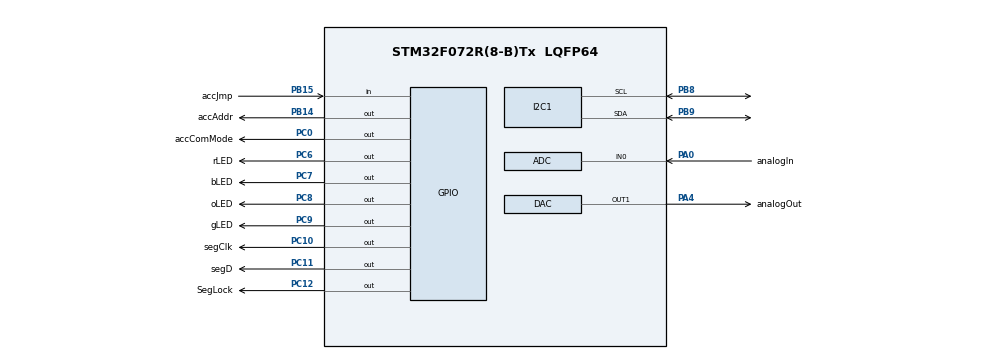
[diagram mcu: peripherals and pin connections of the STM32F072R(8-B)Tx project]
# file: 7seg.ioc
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ADC.ContinuousConvMode=ENABLE
ADC.Resolution=ADC_RESOLUTION_8B
DAC.DAC_Trigger=DAC_TRIGGER_SOFTWARE
Mcu.Family=STM32F0
Mcu.Name=STM32F072R(8-B)Tx
Mcu.Package=LQFP64
NVIC.TIM2_IRQn=true\:2\:0\:true\:false\:true\:true\:true\:true
PA0.GPIO_Label=analogIn
PA0.Mode=IN0
PA0.Signal=ADC_IN0
PA4.GPIO_Label=analogOut
PA4.Signal=COMP_DAC1_group
PB14.GPIO_Label=accAddr
PB14.GPIO_ModeDefaultOutputPP=GPIO_MODE_OUTPUT_PP
PB14.GPIO_PuPd=GPIO_PULLUP
PB14.PinState=GPIO_PIN_SET
PB14.Signal=GPIO_Output
PB15.GPIO_Label=accJmp
PB15.Signal=GPIO_Input
PB8.Mode=I2C
PB8.Signal=I2C1_SCL
PB9.Mode=I2C
PB9.Signal=I2C1_SDA
PC0.GPIO_Label=accComMode
PC0.GPIO_ModeDefaultOutputPP=GPIO_MODE_OUTPUT_PP
PC0.GPIO_PuPd=GPIO_PULLUP
PC0.PinState=GPIO_PIN_SET
PC0.Signal=GPIO_Output
PC10.GPIO_Label=segClk
PC10.Signal=GPIO_Output
PC11.GPIO_Label=segD
PC11.Signal=GPIO_Output
PC12.GPIO_Label=SegLock
PC12.Signal=GPIO_Output
PC6.GPIO_Label=rLED
PC6.GPIO_ModeDefaultOutputPP=GPIO_MODE_OUTPUT_PP
PC6.GPIO_PuPd=GPIO_PULLDOWN
PC6.Signal=GPIO_Output
PC7.GPIO_Label=bLED
PC7.GPIO_PuPd=GPIO_PULLDOWN
PC7.Signal=GPIO_Output
PC8.GPIO_Label=oLED
PC8.GPIO_PuPd=GPIO_PULLDOWN
PC8.Signal=GPIO_Output
PC9.GPIO_Label=gLED
PC9.GPIO_PuPd=GPIO_PULLDOWN
PC9.Signal=GPIO_Output
ProjectManager.HeapSize=0x200
ProjectManager.StackSize=0x400
ProjectManager.TargetToolchain=Makefile
SH.COMP_DAC1_group.0=DAC_OUT1,DAC_OUT1
TIM2.AutoReloadPreload=TIM_AUTORELOAD_PRELOAD_ENABLE
TIM2.Period=3125
TIM2.Prescaler=0
TIM2.TIM_MasterOutputTrigger=TIM_TRGO_UPDATE
TIM3.Period=10000
TIM3.Prescaler=0
VP_TIM2_VS_ClockSourceINT.Mode=Internal
VP_TIM3_VS_ClockSourceINT.Mode=Internal
board=custom

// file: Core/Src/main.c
/* USER CODE BEGIN Header */
/**
 ******************************************************************************
 * @file           : main.c
 * @brief          : Main program body
 ******************************************************************************
 * @attention
 *
 * Copyright (c) 2023 STMicroelectronics.
 * All rights reserved.
 *
 * This software is licensed under terms that can be found in the LICENSE file
 * in the root directory of this software component.
 * If no LICENSE file comes with this software, it is provided AS-IS.
 *
 ******************************************************************************
 */
/* USER CODE END Header */
#include "main.h"
#include "adc.h"
#include "dac.h"
#include "i2c.h"
#include "tim.h"
#include "gpio.h"

/* USER CODE BEGIN Includes */
#include "strings.h"
#include "charBuffer.h"
#include "mm5486n.h"
/* USER CODE END Includes */

/* USER CODE BEGIN PV */
charBuffer *UsartReadBuffer;
charBuffer *UsartWriteQueue;

charBuffer *I2CReadBuffer;
charBuffer *I2CWriteQueue;

const uint8_t sine_table[32] = {127,151,175,197,216,232,244,251,254,251,244,
232,216,197,175,151,127,102,78,56,37,21,9,2,0,2,9,21,37,56,78,102};

/* USER CODE END PV */

void SystemClock_Config(void);

/* USER CODE BEGIN 0 */
uint8_t UART1_rxBuffer[32];

/* USER CODE END 0 */

int main(void)
{
  /* USER CODE BEGIN 1 */

  I2CReadBuffer = NewCharBuffer();
  I2CWriteQueue = NewCharBuffer();

  /* USER CODE END 1 */

  /* MCU Configuration--------------------------------------------------------*/

  /* Reset of all peripherals, Initializes the Flash interface and the Systick. */
  HAL_Init();

  /* Configure the system clock */
  SystemClock_Config();

  /* Initialize all configured peripherals */
  MX_GPIO_Init();
  MX_TIM2_Init();
  MX_TIM3_Init();
  MX_ADC_Init();
  MX_DAC_Init();
  MX_I2C1_Init();
  /* USER CODE BEGIN 2 */
    HAL_TIM_Base_Start_IT(&htim2);
  /* USER CODE END 2 */

  /* Infinite loop */
  /* USER CODE BEGIN WHILE */
  uint16_t val = 0x9345;
  while (1)
  {
    sendData(val);
    val+= 0x1111;
    HAL_GPIO_TogglePin(bLED_GPIO_Port,bLED_Pin);
    HAL_Delay(300);
    /* USER CODE END WHILE */

  }
}

void SystemClock_Config(void)
{
  RCC_OscInitTypeDef RCC_OscInitStruct = {0};
  RCC_ClkInitTypeDef RCC_ClkInitStruct = {0};
  RCC_PeriphCLKInitTypeDef PeriphClkInit = {0};

  /** Initializes the RCC Oscillators according to the specified parameters
  * in the RCC_OscInitTypeDef structure.
  */
  RCC_OscInitStruct.OscillatorType = RCC_OSCILLATORTYPE_HSI|RCC_OSCILLATORTYPE_HSI14;
  RCC_OscInitStruct.HSIState = RCC_HSI_ON;
  RCC_OscInitStruct.HSI14State = RCC_HSI14_ON;
  RCC_OscInitStruct.HSICalibrationValue = RCC_HSICALIBRATION_DEFAULT;
  RCC_OscInitStruct.HSI14CalibrationValue = 16;
  RCC_OscInitStruct.PLL.PLLState = RCC_PLL_NONE;
  if (HAL_RCC_OscConfig(&RCC_OscInitStruct) != HAL_OK)
  {
    Error_Handler();
  }

  /** Initializes the CPU, AHB and APB buses clocks
  */
  RCC_ClkInitStruct.ClockType = RCC_CLOCKTYPE_HCLK|RCC_CLOCKTYPE_SYSCLK
                              |RCC_CLOCKTYPE_PCLK1;
  RCC_ClkInitStruct.SYSCLKSource = RCC_SYSCLKSOURCE_HSI;
  RCC_ClkInitStruct.AHBCLKDivider = RCC_SYSCLK_DIV1;
  RCC_ClkInitStruct.APB1CLKDivider = RCC_HCLK_DIV1;

  if (HAL_RCC_ClockConfig(&RCC_ClkInitStruct, FLASH_LATENCY_0) != HAL_OK)
  {
    Error_Handler();
  }
  PeriphClkInit.PeriphClockSelection = RCC_PERIPHCLK_I2C1;
  PeriphClkInit.I2c1ClockSelection = RCC_I2C1CLKSOURCE_HSI;
  if (HAL_RCCEx_PeriphCLKConfig(&PeriphClkInit) != HAL_OK)
  {
    Error_Handler();
  }
}

/* USER CODE BEGIN 4 */
          // (+++) Activate the ADC peripheral and start conversions
          //       using function HAL_ADC_Start()
          // (+++) Wait for ADC conversion completion
          //       using function HAL_ADC_PollForConversion()
          // (+++) Retrieve conversion results
          //       using function HAL_ADC_GetValue()
          // (+++) Stop conversion and disable the ADC peripheral
          //       using function HAL_ADC_Stop()

void write_DAC(uint8_t val){
  hdac.Instance->DHR8R1 = val;
  hdac.Instance->SWTRIGR |= DAC_SWTRIGR_SWTRIG1;
}
uint8_t read_ADC(){
  // hadc.Instance->CR |= ADC_CR_ADSTART;
  // Wait for end of Conversion or end of Sequence
  while(!(hadc.Instance->ISR & (ADC_ISR_EOC | ADC_ISR_EOS))){
  }
  uint8_t value = hadc.Instance->DR;
  hadc.Instance->ISR |= (hadc.Instance->ISR & (ADC_ISR_EOC | ADC_ISR_EOS));
  return value;
}

void calibrate_ADC()
{
  hadc.Instance->CR &= ~ADC_CR_ADEN;
  hadc.Instance->CFGR1 &= ~ADC_CFGR1_DMAEN;

  hadc.Instance->CFGR1 |= ADC_CR_ADCAL;
  // wait for hardware to tell us it is done
  while(hadc.Instance->CR & ADC_CR_ADCAL){
  }

  hadc.Instance->CR |= ADC_CR_ADEN;
  hadc.Instance->CFGR1 |= ADC_CFGR1_DMAEN;
  hadc.Instance->CR |= ADC_CR_ADSTART;
}

/* USER CODE END 4 */

void Error_Handler(void)
{
  __disable_irq();
  while (1)
  {
  }
}
